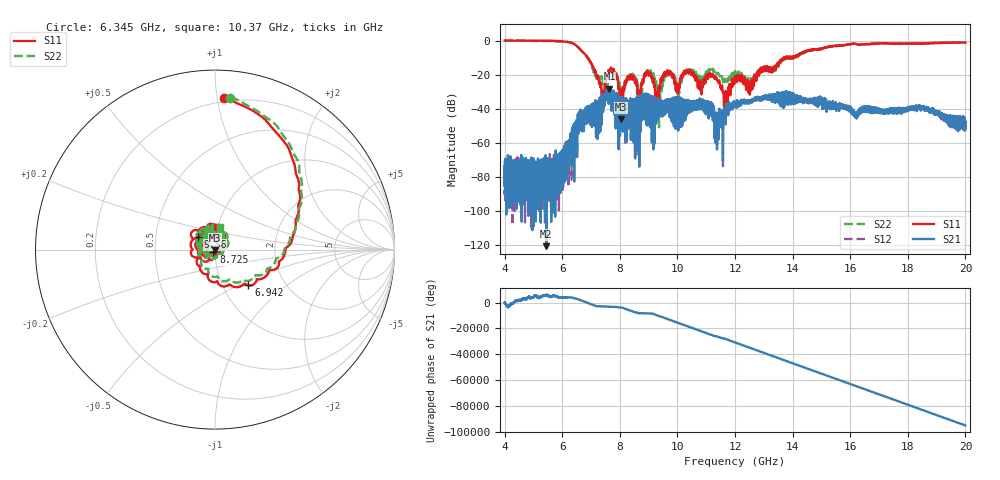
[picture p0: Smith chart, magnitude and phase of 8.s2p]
[Version] 2.0
! Rohde & Schwarz Vector Network Analyzer
! Rohde-Schwarz,ZNL20-2Port,1323001220200009,1.71.1.10-23.02.1.238
! Port Assignments:
! Nominal Port -> Actual Test Port
!  1 -> 1
!  2 -> 2
! Created: GMT+2 2025-01-16 20:23:07
# Hz S RI R 50
[Number of Ports] 2
[Two-Port Data Order] 21_12
! freq[Hz]  S11[Re]  S11[Im]  S21[Re]  S21[Im]  S12[Re]  S12[Im]  S22[Re]  S22[Im]
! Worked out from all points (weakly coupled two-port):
!   16001 points, 4 GHz to 20 GHz, reference 50 ohm
!   highest |S21| = -28.30 dB at 7.642 GHz (marker M1); lowest = -120.8 dB at 5.45 GHz (marker M2)
!   lowest |S11| = -46.2 dB at 8.051 GHz (marker M3), VSWR 1.01, Z = 49.9 - j0.483 ohm
!   |S11| at or under -10 dB: 6.889 GHz to 13.7 GHz (6.812 GHz wide, 66.2 % of centre); 13.71507 GHz to 13.74352 GHz (28.45 MHz wide, 0.207 % of centre); 13.94338 GHz to 13.96736 GHz (23.98 MHz wide, 0.172 % of centre) (the widest 3 of 9)
!   |S22| runs from -52.7 to 0.0 dB; largest |S21 - S12| = 0.0028
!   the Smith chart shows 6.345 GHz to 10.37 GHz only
!   S11 on the Smith chart (normalised r, x): 6.345 GHz: 0.17, +1.04; 6.942 GHz: 1.32, -0.57; 8.725 GHz: 0.98, -0.03; 9.56 GHz: 0.82, +0.12; 10.37 GHz: 0.99, +0.26
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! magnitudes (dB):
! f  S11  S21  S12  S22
! 4 GHz  0.0  -76.5  -87.2  -0.2
! 5.45 GHz  0.0  -120.8  -84.6  -0.3
! 6.345 GHz  -1.4  -51.5  -52.4  -1.4
! 6.667 GHz  -5.9  -44.8  -44.3  -6.0
! 6.942 GHz  -11.3  -46.4  -46.3  -12.2
! 7.404 GHz  -30.0  -34.6  -34.7  -22.3
! 7.642 GHz  -17.3  -28.3  -28.3  -19.9
! 8.051 GHz  -46.2  -46.4  -46.4  -32.3
! 8.428 GHz  -22.9  -41.6  -41.6  -21.7
! 8.725 GHz  -35.5  -47.9  -47.8  -51.2
! 9.002 GHz  -20.2  -33.4  -33.4  -18.9
! 9.334 GHz  -28.3  -34.3  -34.3  -31.3
! 9.56 GHz  -18.4  -36.7  -36.8  -20.7
! 10.05 GHz  -25.6  -33.2  -33.2  -27.6
! 10.37 GHz  -17.9  -41.0  -40.8  -17.8
! 11.25 GHz  -21.0  -39.0  -38.9  -17.3
! 11.68 GHz  -29.8  -46.7  -46.8  -23.0
! 12 GHz  -20.9  -37.1  -37.3  -18.3
! 12.54 GHz  -24.5  -35.7  -35.6  -22.2
! 14.67 GHz  -5.5  -34.7  -34.4  -5.8
! 17.33 GHz  -1.8  -42.0  -41.2  -1.8
! 20 GHz  -1.2  -47.9  -48.5  -1.1
